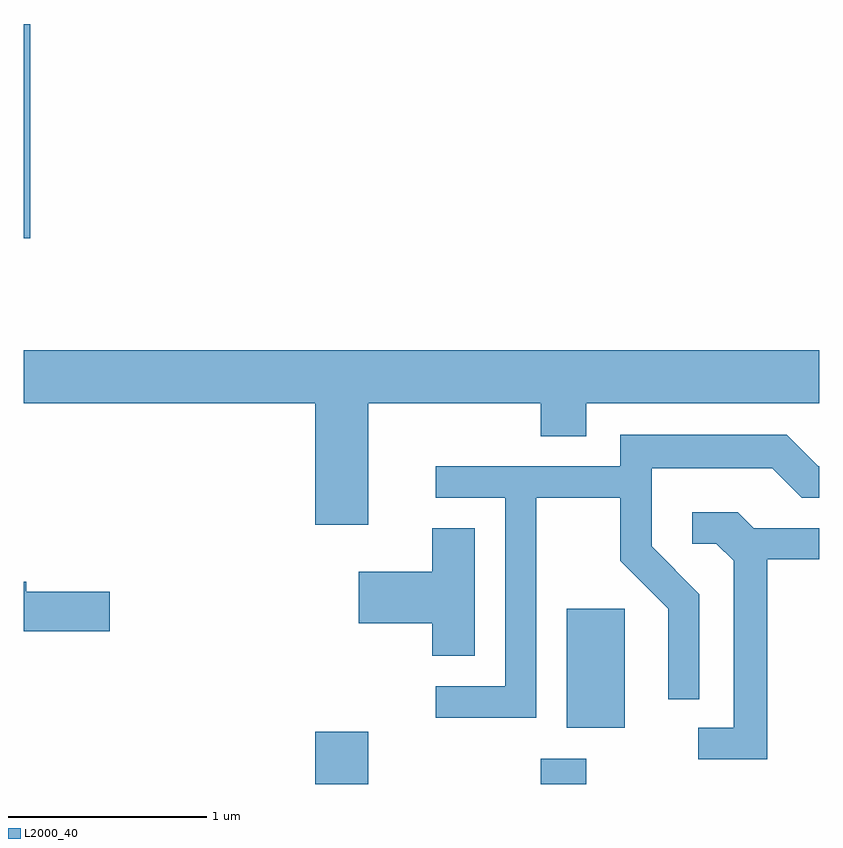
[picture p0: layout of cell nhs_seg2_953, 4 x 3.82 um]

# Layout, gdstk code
import gdstk
lib = gdstk.Library(unit=1e-6, precision=1e-09)
def R(c, l, rs):  # rectangles x0, y0, x1, y1
    for r in rs: c.add(gdstk.rectangle(r[:2], r[2:], *l))
def P(c, l, *ps):  # polygons
    for p in ps: c.add(gdstk.Polygon(p, *l))
L2000_40 = (2000, 40)

nhs_seg2_953 = lib.new_cell('nhs_seg2_953')
R(nhs_seg2_953, L2000_40, [(215.076,979.802,215.344,980.064), (216.211,979.802,216.439,979.929), (216.341,980.086,216.634,980.684), (213.611,982.546,213.644,983.624)])
P(nhs_seg2_953, L2000_40, [(215.344,981.716),(216.211,981.716),(216.211,981.551),(216.439,981.551),(216.439,981.716),(217.611,981.716),(217.611,981.984),(213.611,981.984),(213.611,981.716),(215.076,981.716),(215.076,981.106),(215.344,981.106)],
  [(216.189,981.241),(216.611,981.241),(216.611,980.924),(216.851,980.684),(216.851,980.228),(217.009,980.228),(217.009,980.757),(216.769,980.997),(216.769,981.391),(217.374,981.391),(217.524,981.241),(217.611,981.241),(217.611,981.399),(217.607,981.399),(217.447,981.559),(216.611,981.559),(216.611,981.399),(215.683,981.399),(215.683,981.241),(216.031,981.241),(216.031,980.294),(215.683,980.294),(215.683,980.136),(216.189,980.136)],
  [(217.349,980.931),(217.611,980.931),(217.611,981.089),(217.282,981.089),(217.202,981.169),(216.973,981.169),(216.973,981.011),(217.094,981.011),(217.181,980.924),(217.181,980.084),(217.003,980.084),(217.003,979.926),(217.349,979.926)],
  [(215.879,981.089),(215.666,981.089),(215.666,980.869),(215.296,980.869),(215.296,980.611),(215.666,980.611),(215.666,980.446),(215.879,980.446)],
  [(214.044,980.769),(213.624,980.769),(213.624,980.819),(213.611,980.819),(213.611,980.571),(214.044,980.571)])

lib.write_gds('nhs_seg2_953.gds')
